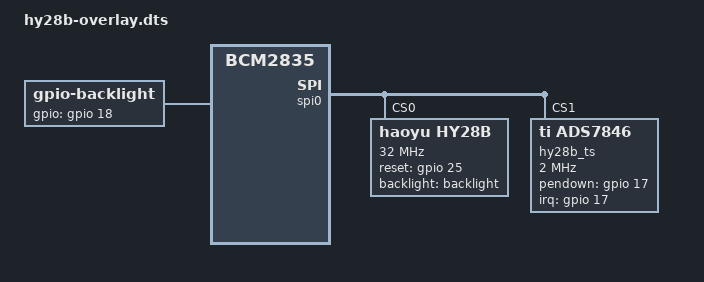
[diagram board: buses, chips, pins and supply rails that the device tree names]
/*
 * Device Tree overlay for Texy's HY28B display HAT
 *
 */

/dts-v1/;
/plugin/;

/ {
	compatible = "brcm,bcm2835";

	fragment@0 {
		target = <&spi0>;
		__overlay__ {
			status = "okay";
		};
	};

/* Downstream needs this:
	fragment@1 {
		target = <&spidev0>;
		__overlay__ {
			status = "disabled";
		};
	};

	fragment@2 {
		target = <&spidev1>;
		__overlay__ {
			status = "disabled";
		};
	};
*/
	fragment@3 {
		target = <&spi0>;
		__overlay__ {
			/* needed to avoid dtc warning */
			#address-cells = <1>;
			#size-cells = <0>;

			hy28b: hy28b@0{
				compatible = "haoyu,hy28b";
				reg = <0>;

				spi-max-frequency = <32000000>;
				spi-cpol;
				spi-cpha;

				rotation = <0>;
				reset-gpios = <&gpio 25 0>;
				backlight = <&backlight>;
			};

			hy28b_ts: hy28b-ts@1 {
				compatible = "ti,ads7846";
				reg = <1>;

				spi-max-frequency = <2000000>;
				interrupts = <17 2>; /* high-to-low edge triggered */
				interrupt-parent = <&gpio>;
				pendown-gpio = <&gpio 17 0>;
				ti,x-plate-ohms = /bits/ 16 <100>;
				ti,pressure-max = /bits/ 16 <255>;
			};
		};
	};

	fragment@4 {
		target = <&gpio>;
		__overlay__ {
			/*
			 * This is necessary on Pi1,2,Zero not Pi3:
			 * Remove &i2s_alt0 which claims gpio18
			 */
			pinctrl-0 = <&gpioout &alt0>;

			backlight_pins: backlight_pins {
				brcm,pins = <18>;
				brcm,function = <1>; /* out */
			};
		};
	};

	fragment@5 {
		target-path = "/soc";
		__overlay__ {
			backlight: backlight {
				compatible = "gpio-backlight";
				pinctrl-names = "default";
				pinctrl-0 = <&backlight_pins>;
				gpios = <&gpio 18 0>;
			};
		};
	};

	__overrides__ {
		speed =		<&hy28b>,"spi-max-frequency:0";
		rotation =	<&hy28b>,"rotation:0";
		fps =		<&hy28b>,"fps:0";
		debug =		<&hy28b>,"debug:0";
		xohms =		<&hy28b_ts>,"ti,x-plate-ohms;0";
	};
};
